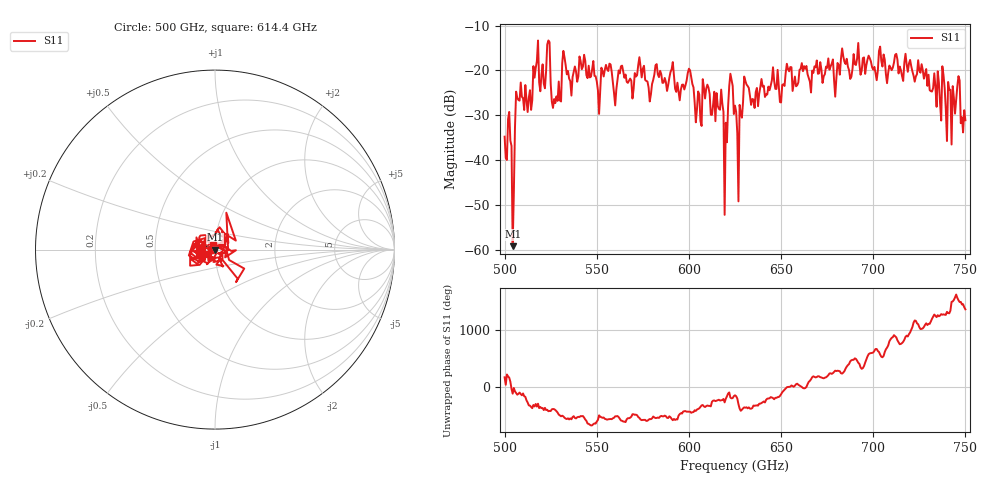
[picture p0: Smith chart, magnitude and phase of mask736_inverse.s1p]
!Created with skrf (http://scikit-rf.org).
# GHz S MA R 50.0
!freq magS11 angS11
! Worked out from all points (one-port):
!   401 points, 500 GHz to 750 GHz, reference 50 ohm
!   lowest |S11| = -59.1 dB at 504.4 GHz (marker M1), VSWR 1.00, Z = 50 - j0.102 ohm
!   |S11| at or under -10 dB: start of sweep to end of sweep
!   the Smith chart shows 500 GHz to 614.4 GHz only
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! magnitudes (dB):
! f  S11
! 500 GHz  -34.8
! 502.5 GHz  -29.2
! 504.4 GHz  -59.1
! 507.5 GHz  -26.6
! 513.8 GHz  -24.4
! 516.9 GHz  -19.5
! 520.6 GHz  -18.7
! 523.8 GHz  -13.3
! 526.9 GHz  -26.4
! 531.2 GHz  -18.4
! 560 GHz  -27.8
! 562.5 GHz  -20.7
! 593.8 GHz  -22.7
! 600 GHz  -19.6
! 605 GHz  -24.7
! 616.2 GHz  -28.5
! 620 GHz  -31.7
! 622.5 GHz  -20.7
! 625 GHz  -27.8
! 627.5 GHz  -27.7
! 631.2 GHz  -23.1
! 634.4 GHz  -26.4
! 656.2 GHz  -24.6
! 687.5 GHz  -21.9
! 718.8 GHz  -20.3
! 741.2 GHz  -24.3
! 745.6 GHz  -23.5
! 750 GHz  -31.1
